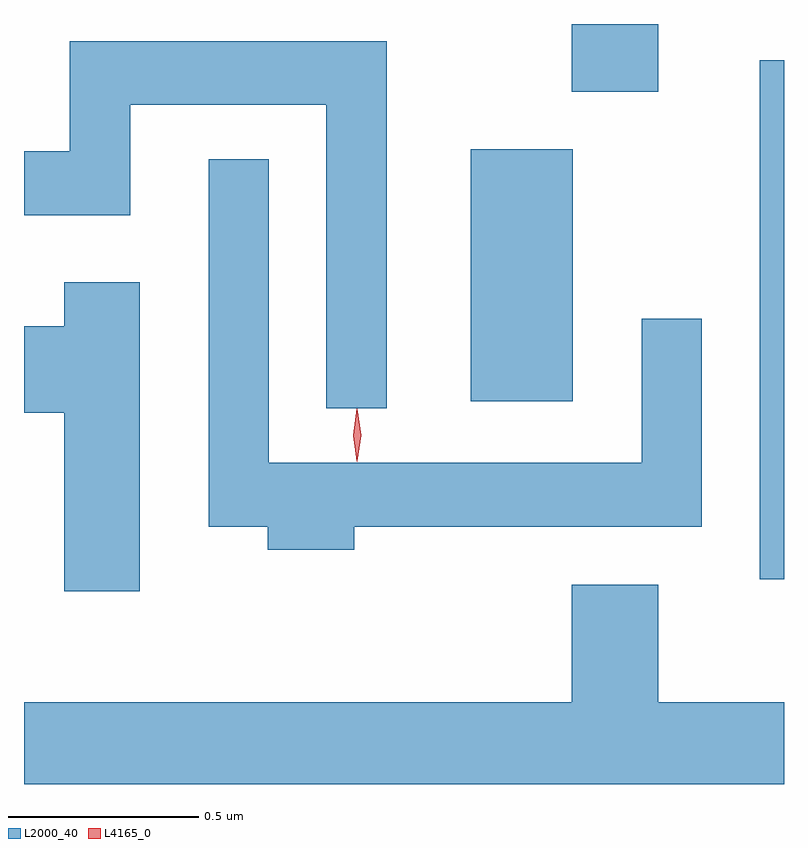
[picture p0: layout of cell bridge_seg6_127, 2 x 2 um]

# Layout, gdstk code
import gdstk
lib = gdstk.Library(unit=1e-6, precision=1e-09)
def R(c, l, rs):  # rectangles x0, y0, x1, y1
    for r in rs: c.add(gdstk.rectangle(r[:2], r[2:], *l))
def P(c, l, *ps):  # polygons
    for p in ps: c.add(gdstk.Polygon(p, *l))
L2000_40 = (2000, 40)
L4165_0 = (4165, 0)

bridge_seg6_127 = lib.new_cell('bridge_seg6_127')
R(bridge_seg6_127, L2000_40, [(1166.176,1632.768,1166.24,1634.134), (1165.416,1633.236,1165.684,1633.899), (1165.681,1634.051,1165.909,1634.229)])
P(bridge_seg6_127, L2000_40, [(1165.194,1634.184),(1164.361,1634.184),(1164.361,1633.894),(1164.24,1633.894),(1164.24,1633.726),(1164.519,1633.726),(1164.519,1634.016),(1165.036,1634.016),(1165.036,1633.218),(1165.194,1633.218)],
  [(1165.109,1632.906),(1166.024,1632.906),(1166.024,1633.453),(1165.866,1633.453),(1165.866,1633.074),(1164.884,1633.074),(1164.884,1633.873),(1164.726,1633.873),(1164.726,1632.906),(1164.881,1632.906),(1164.881,1632.846),(1165.109,1632.846)],
  [(1164.544,1633.549),(1164.346,1633.549),(1164.346,1633.434),(1164.24,1633.434),(1164.24,1633.206),(1164.346,1633.206),(1164.346,1632.736),(1164.544,1632.736)],
  [(1166.24,1632.444),(1165.909,1632.444),(1165.909,1632.754),(1165.681,1632.754),(1165.681,1632.444),(1164.24,1632.444),(1164.24,1632.229),(1166.24,1632.229)])
P(bridge_seg6_127, L4165_0, [(1165.117,1633.077),(1165.116,1633.078),(1165.107,1633.147),(1165.116,1633.216),(1165.117,1633.216),(1165.117,1633.216),(1165.127,1633.147),(1165.117,1633.078)],
  [(1165.116,1633.079),(1165.116,1633.08),(1165.106,1633.146),(1165.116,1633.212),(1165.116,1633.213),(1165.116,1633.212),(1165.126,1633.146),(1165.116,1633.08)])

lib.write_gds('bridge_seg6_127.gds')
